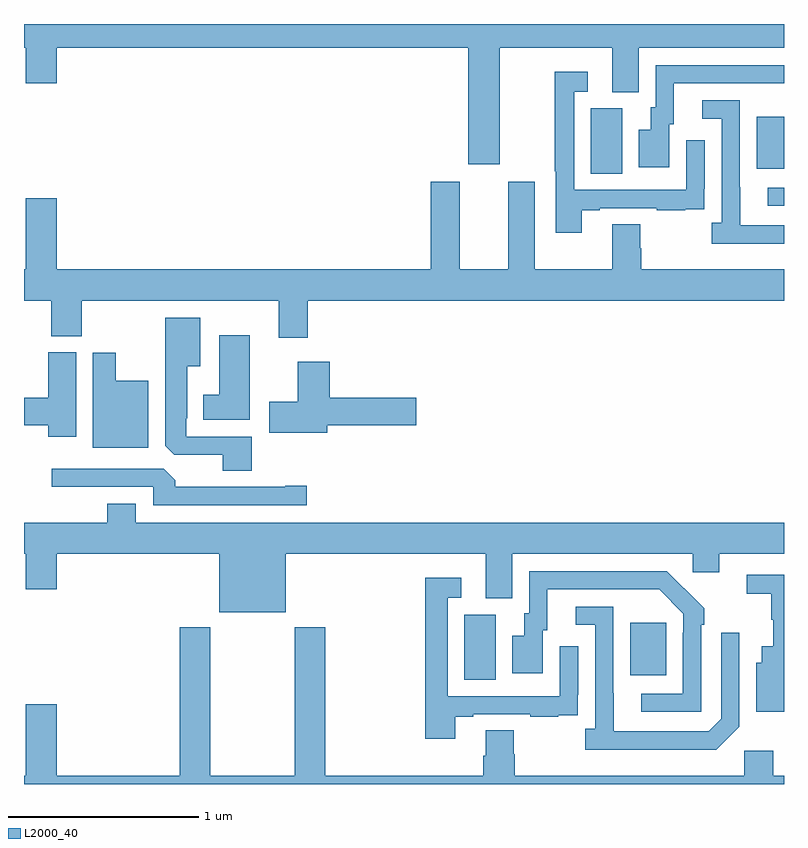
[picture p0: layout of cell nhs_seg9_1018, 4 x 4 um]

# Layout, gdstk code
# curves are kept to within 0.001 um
import gdstk
lib = gdstk.Library(unit=1e-6, precision=1e-09)
def R(c, l, rs):  # rectangles x0, y0, x1, y1
    for r in rs: c.add(gdstk.rectangle(r[:2], r[2:], *l))
def P(c, l, *ps):  # polygons
    for p in ps: c.add(gdstk.Polygon(p, *l))
L2000_40 = (2000, 40)

nhs_seg9_1018 = lib.new_cell('nhs_seg9_1018')
R(nhs_seg9_1018, L2000_40, [(167.318,1237.048,167.482,1237.392), (168.191,1237.073,168.379,1237.348), (168.915,1239.543,169,1239.639), (167.984,1239.712,168.148,1240.056), (168.857,1239.737,169,1240.012)])
P(nhs_seg9_1018, L2000_40, [(167.503,1240.376),(168.095,1240.376),(168.095,1240.141),(168.235,1240.141),(168.235,1240.376),(169,1240.376),(169,1240.5),(165,1240.5),(165,1240.376),(165.008,1240.376),(165.008,1240.188),(165.172,1240.188),(165.172,1240.376),(167.339,1240.376),(167.339,1239.762),(167.503,1239.762)],
  [(168.397,1239.972),(168.421,1239.972),(168.421,1240.188),(169,1240.188),(169,1240.284),(168.324,1240.284),(168.324,1240.062),(168.299,1240.062),(168.299,1239.943),(168.236,1239.943),(168.236,1239.747),(168.397,1239.747)],
  [(167.935,1239.519),(168.031,1239.519),(168.031,1239.531),(168.331,1239.531),(168.331,1239.519),(168.479,1239.519),(168.479,1239.525),(168.581,1239.525),(168.581,1239.634),(168.582,1239.634),(168.582,1239.889),(168.486,1239.889),(168.486,1239.627),(167.895,1239.627),(167.895,1240.143),(167.968,1240.143),(167.968,1240.249),(167.794,1240.249),(167.794,1239.724),(167.799,1239.724),(167.799,1239.402),(167.935,1239.402)],
  [(169,1239.441),(168.769,1239.441),(168.769,1239.641),(168.768,1239.641),(168.768,1240.098),(168.57,1240.098),(168.57,1240.002),(168.672,1240.002),(168.672,1239.454),(168.621,1239.454),(168.621,1239.344),(169,1239.344)],
  [(166.493,1239.044),(169,1239.044),(169,1239.208),(168.248,1239.208),(168.248,1239.321),(168.243,1239.321),(168.243,1239.446),(168.095,1239.446),(168.095,1239.208),(167.689,1239.208),(167.689,1239.67),(167.549,1239.67),(167.549,1239.208),(167.293,1239.208),(167.293,1239.67),(167.141,1239.67),(167.141,1239.208),(165.172,1239.208),(165.172,1239.583),(165.008,1239.583),(165.008,1239.208),(165,1239.208),(165,1239.044),(165.143,1239.044),(165.143,1238.857),(165.303,1238.857),(165.303,1239.044),(166.34,1239.044),(166.34,1238.85),(166.493,1238.85)],
  [(166.199,1238.328),(165.855,1238.328),(165.855,1238.425),(165.859,1238.425),(165.859,1238.699),(165.928,1238.699),(165.928,1238.953),(165.743,1238.953),(165.743,1238.281),(165.792,1238.232),(166.046,1238.232),(166.046,1238.149),(166.199,1238.149)],
  [(166.189,1238.863),(166.028,1238.863),(166.028,1238.548),(165.944,1238.548),(165.944,1238.417),(166.189,1238.417)],
  [(165.274,1238.772),(165.128,1238.772),(165.128,1238.534),(165,1238.534),(165,1238.387),(165.128,1238.387),(165.128,1238.328),(165.274,1238.328)],
  [(165.655,1238.623),(165.484,1238.623),(165.484,1238.77),(165.362,1238.77),(165.362,1238.27),(165.655,1238.27)],
  [(166.597,1238.387),(167.065,1238.387),(167.065,1238.534),(166.61,1238.534),(166.61,1238.722),(166.442,1238.722),(166.442,1238.511),(166.29,1238.511),(166.29,1238.348),(166.597,1238.348)],
  [(166.489,1238.069),(166.376,1238.069),(166.376,1238.064),(165.797,1238.064),(165.797,1238.098),(165.735,1238.16),(165.147,1238.16),(165.147,1238.064),(165.681,1238.064),(165.681,1237.968),(166.489,1237.968)],
  [(166.378,1237.712),(167.429,1237.712),(167.429,1237.477),(167.569,1237.477),(167.569,1237.712),(168.519,1237.712),(168.519,1237.614),(168.658,1237.614),(168.658,1237.712),(169,1237.712),(169,1237.876),(165.589,1237.876),(165.589,1237.975),(165.437,1237.975),(165.437,1237.876),(165,1237.876),(165,1237.712),(165.008,1237.712),(165.008,1237.524),(165.172,1237.524),(165.172,1237.712),(166.028,1237.712),(166.028,1237.403),(166.378,1237.403)],
  [(168.564,1237.337),(168.579,1237.337),(168.579,1237.425),(168.382,1237.62),(167.658,1237.62),(167.658,1237.398),(167.633,1237.398),(167.633,1237.279),(167.57,1237.279),(167.57,1237.083),(167.731,1237.083),(167.731,1237.308),(167.755,1237.308),(167.755,1237.524),(168.343,1237.524),(168.471,1237.395),(168.471,1237.295),(168.468,1237.295),(168.468,1236.975),(168.249,1236.975),(168.249,1236.879),(168.564,1236.879)],
  [(169,1237.602),(168.804,1237.602),(168.804,1237.501),(168.933,1237.501),(168.933,1237.365),(168.944,1237.365),(168.944,1237.225),(168.884,1237.225),(168.884,1237.138),(168.854,1237.138),(168.854,1236.881),(169,1236.881)],
  [(167.269,1236.855),(167.365,1236.855),(167.365,1236.867),(167.665,1236.867),(167.665,1236.855),(167.813,1236.855),(167.813,1236.861),(167.915,1236.861),(167.915,1236.97),(167.916,1236.97),(167.916,1237.225),(167.82,1237.225),(167.82,1236.963),(167.229,1236.963),(167.229,1237.479),(167.302,1237.479),(167.302,1237.585),(167.113,1237.585),(167.113,1236.738),(167.269,1236.738)],
  [(168.765,1236.801),(168.765,1237.297),(168.669,1237.297),(168.669,1236.843),(168.603,1236.777),(168.103,1236.777),(168.102,1237.434),(167.904,1237.434),(167.904,1237.338),(168.006,1237.338),(168.006,1236.79),(167.955,1236.79),(167.955,1236.68),(168.644,1236.68)],
  [(169,1236.544),(168.944,1236.544),(168.944,1236.676),(168.792,1236.676),(168.792,1236.544),(167.582,1236.544),(167.582,1236.657),(167.577,1236.657),(167.577,1236.782),(167.429,1236.782),(167.429,1236.65),(167.417,1236.65),(167.417,1236.544),(166.586,1236.544),(166.586,1237.324),(166.426,1237.324),(166.426,1236.544),(165.981,1236.544),(165.981,1237.324),(165.821,1237.324),(165.821,1236.544),(165.172,1236.544),(165.172,1236.919),(165.008,1236.919),(165.008,1236.544),(165,1236.544),(165,1236.5),(169,1236.5)])

lib.write_gds('nhs_seg9_1018.gds')
